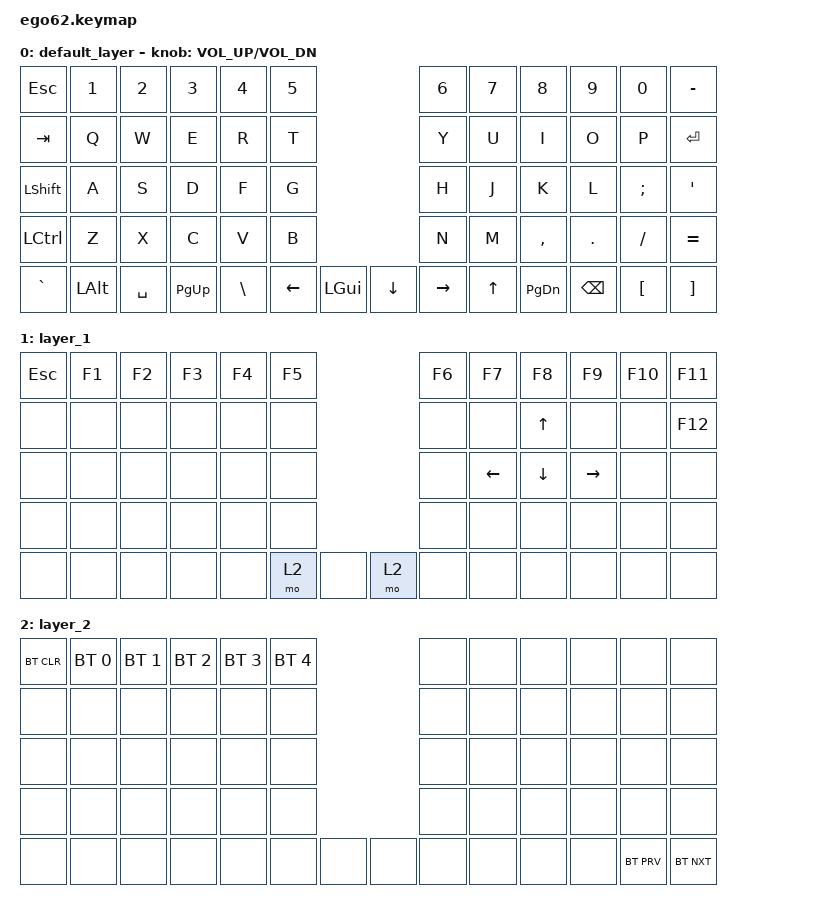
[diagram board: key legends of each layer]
/*
 * Copyright (c) 2020 The ZMK Contributors
 *
 * SPDX-License-Identifier: MIT
 */

#include <behaviors.dtsi>
#include <dt-bindings/zmk/bt.h>
#include <dt-bindings/zmk/keys.h>

/ {
    keymap {
        compatible = "zmk,keymap";

        default_layer {
            bindings = <
&kp ESCAPE      &kp N1        &kp N2     &kp N3       &kp N4         &kp N5                                    &kp N6           &kp N7        &kp N8         &kp N9         &kp N0         &kp MINUS
&kp TAB         &kp Q         &kp W      &kp E        &kp R          &kp T                                     &kp Y            &kp U         &kp I          &kp O          &kp P          &kp RET
&kp LEFT_SHIFT  &kp A         &kp S      &kp D        &kp F          &kp G                                     &kp H            &kp J         &kp K          &kp L          &kp SEMICOLON  &kp SQT
&kp LCTRL       &kp Z         &kp X      &kp C        &kp V          &kp B                                     &kp N            &kp M         &kp COMMA      &kp DOT        &kp FSLH       &kp EQUAL
&kp GRAVE       &kp LEFT_ALT  &kp SPACE  &kp PAGE_UP  &kp BACKSLASH  &kp LEFT_ARROW  &kp LGUI  &kp DOWN_ARROW  &kp RIGHT_ARROW  &kp UP_ARROW  &kp PAGE_DOWN  &kp BACKSPACE  &kp LBKT       &kp RBKT
            >;

            sensor-bindings = <&inc_dec_kp C_VOL_UP C_VOL_DN>;
        };

        layer_1 {
            bindings = <
&kp ESC  &kp F1  &kp F2  &kp F3  &kp F4  &kp F5                &kp F6  &kp F7    &kp F8    &kp F9     &kp F10  &kp F11
&none    &none   &none   &none   &none   &none                 &none   &none     &kp UP    &none      &none    &kp F12
&none    &none   &none   &none   &none   &none                 &none   &kp LEFT  &kp DOWN  &kp RIGHT  &none    &none
&none    &none   &none   &none   &none   &none                 &none   &none     &none     &none      &none    &none
&none    &none   &none   &none   &none   &mo 2   &none  &mo 2  &none   &none     &none     &none      &none    &none
            >;
        };

        layer_2 {
            bindings = <
&bt BT_CLR  &bt BT_SEL 0  &bt BT_SEL 1  &bt BT_SEL 2  &bt BT_SEL 3  &bt BT_SEL 4                &none  &none  &none  &none  &none       &none
&none       &none         &none         &none         &none         &none                       &none  &none  &none  &none  &none       &none
&none       &none         &none         &none         &none         &none                       &none  &none  &none  &none  &none       &none
&none       &none         &none         &none         &none         &none                       &none  &none  &none  &none  &none       &none
&none       &none         &none         &none         &none         &none         &none  &none  &none  &none  &none  &none  &bt BT_PRV  &bt BT_NXT
            >;
        };
    };
};
